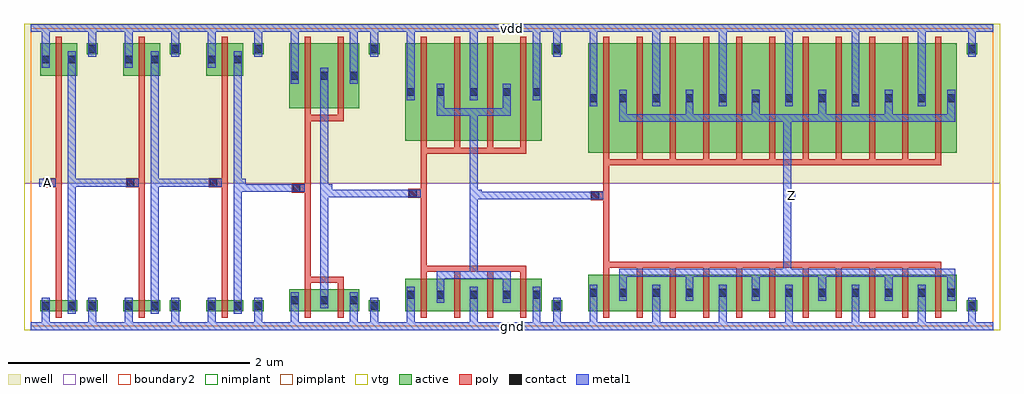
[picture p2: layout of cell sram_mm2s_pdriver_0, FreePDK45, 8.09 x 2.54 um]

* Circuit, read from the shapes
.subckt sram_mm2s_pdriver_0 A Z gnd vdd
M1 sram_mm2s_pinv_5_1/A A gnd gnd nfet w=0.09u l=0.05u
M2 sram_mm2s_pinv_5_2/A sram_mm2s_pinv_5_1/A gnd gnd nfet w=0.09u l=0.05u
M3 sram_mm2s_pinv_6_3/A sram_mm2s_pinv_5_2/A gnd gnd nfet w=0.09u l=0.05u
M4 sram_mm2s_pinv_3_4/A sram_mm2s_pinv_6_3/A gnd gnd nfet w=0.18u l=0.05u m=2
M5 sram_mm2s_pinv_7_5/A sram_mm2s_pinv_3_4/A gnd gnd nfet w=0.27u l=0.05u m=4
M6 Z sram_mm2s_pinv_7_5/A gnd gnd nfet w=0.3025u l=0.05u m=11
M7 sram_mm2s_pinv_5_1/A A vdd vdd pfet w=0.27u l=0.05u
M8 sram_mm2s_pinv_5_2/A sram_mm2s_pinv_5_1/A vdd vdd pfet w=0.27u l=0.05u
M9 sram_mm2s_pinv_6_3/A sram_mm2s_pinv_5_2/A vdd vdd pfet w=0.27u l=0.05u
M10 sram_mm2s_pinv_3_4/A sram_mm2s_pinv_6_3/A vdd vdd pfet w=0.54u l=0.05u m=2
M11 sram_mm2s_pinv_7_5/A sram_mm2s_pinv_3_4/A vdd vdd pfet w=0.81u l=0.05u m=4
M12 Z sram_mm2s_pinv_7_5/A vdd vdd pfet w=0.9075u l=0.05u m=11
.ends

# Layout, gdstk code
import gdstk
lib = gdstk.Library(unit=1e-6, precision=5e-10)
def R(c, l, rs):  # rectangles x0, y0, x1, y1
    for r in rs: c.add(gdstk.rectangle(r[:2], r[2:], *l))
def A(c, l, x, y, w, h, nx, ny, dx, dy):  # array of equal rectangles
    R(c, l, [(x+i*dx, y+j*dy, x+i*dx+w, y+j*dy+h) for i in range(nx) for j in range(ny)])
active = (1, 0)
pwell = (2, 0)
nwell = (3, 0)
nimplant = (4, 0)
pimplant = (5, 0)
vtg = (6, 0)
poly = (9, 0)
contact = (10, 0)
metal1 = (11, 0)
boundary2 = (239, 0)

sram_mm2s_contact_11 = lib.new_cell('sram_mm2s_contact_11')
R(sram_mm2s_contact_11, active, [(0,0.0225,0.09,0.1125)])
R(sram_mm2s_contact_11, nwell, [(-0.055,-0.0325,0.145,0.1675)])
R(sram_mm2s_contact_11, pimplant, [(0,0.0225,0.09,0.1125)])
R(sram_mm2s_contact_11, contact, [(0.0125,0.035,0.0775,0.1)])
R(sram_mm2s_contact_11, metal1, [(0.0125,0,0.0775,0.135)])
R(sram_mm2s_contact_11, boundary2, [(-0.055,-0.0325,0.145,0.1675)])

sram_mm2s_pmos_m1_w0_270 = lib.new_cell('sram_mm2s_pmos_m1_w0_270_sm1_dm1_da_p')
R(sram_mm2s_pmos_m1_w0_270, active, [(0,0,0.305,0.27)])
R(sram_mm2s_pmos_m1_w0_270, nwell, [(-0.08,-0.08,0.385,0.35)])
R(sram_mm2s_pmos_m1_w0_270, pimplant, [(0,0,0.305,0.27)])
R(sram_mm2s_pmos_m1_w0_270, vtg, [(-0.08,-0.08,0.385,0.35)])
R(sram_mm2s_pmos_m1_w0_270, poly, [(0.1275,-0.055,0.1775,0.325), (0.1275,-0.055,0.1775,0.325)])
R(sram_mm2s_pmos_m1_w0_270, metal1, [(0.0125,0.0675,0.0775,0.2025), (0.2275,0.0675,0.2925,0.2025)])
R(sram_mm2s_pmos_m1_w0_270, boundary2, [(-0.08,-0.08,0.385,0.35)])
sram_mm2s_pmos_m1_w0_270.add(gdstk.Reference(sram_mm2s_contact_11, (0,0.0675)))
sram_mm2s_pmos_m1_w0_270.add(gdstk.Reference(sram_mm2s_contact_11, (0.215,0.0675)))
sram_mm2s_pmos_m1_w0_270.add(gdstk.Label('G', (0.1525,0.135), layer=9, texttype=0))
sram_mm2s_pmos_m1_w0_270.add(gdstk.Label('S', (0.045,0.135), layer=11, texttype=0))
sram_mm2s_pmos_m1_w0_270.add(gdstk.Label('D', (0.26,0.135), layer=11, texttype=0))

sram_mm2s_contact_10 = lib.new_cell('sram_mm2s_contact_10')
R(sram_mm2s_contact_10, active, [(0,0.0225,0.09,0.1125)])
R(sram_mm2s_contact_10, pwell, [(-0.055,-0.0325,0.145,0.1675)])
R(sram_mm2s_contact_10, nimplant, [(0,0.0225,0.09,0.1125)])
R(sram_mm2s_contact_10, contact, [(0.0125,0.035,0.0775,0.1)])
R(sram_mm2s_contact_10, metal1, [(0.0125,0,0.0775,0.135)])
R(sram_mm2s_contact_10, boundary2, [(-0.055,-0.0325,0.145,0.1675)])

sram_mm2s_nmos_m1_w0_090 = lib.new_cell('sram_mm2s_nmos_m1_w0_090_sm1_dm1_da_p')
R(sram_mm2s_nmos_m1_w0_090, active, [(0,0,0.305,0.09)])
R(sram_mm2s_nmos_m1_w0_090, pwell, [(-0.08,-0.08,0.385,0.17)])
R(sram_mm2s_nmos_m1_w0_090, nimplant, [(0,0,0.305,0.09)])
R(sram_mm2s_nmos_m1_w0_090, vtg, [(-0.08,-0.08,0.385,0.17)])
R(sram_mm2s_nmos_m1_w0_090, poly, [(0.1275,-0.055,0.1775,0.145), (0.1275,-0.055,0.1775,0.145)])
R(sram_mm2s_nmos_m1_w0_090, metal1, [(0.0125,-0.0225,0.0775,0.1125), (0.2275,-0.0225,0.2925,0.1125)])
R(sram_mm2s_nmos_m1_w0_090, boundary2, [(-0.08,-0.08,0.385,0.17)])
sram_mm2s_nmos_m1_w0_090.add(gdstk.Reference(sram_mm2s_contact_10, (0,-0.0225)))
sram_mm2s_nmos_m1_w0_090.add(gdstk.Reference(sram_mm2s_contact_10, (0.215,-0.0225)))
sram_mm2s_nmos_m1_w0_090.add(gdstk.Label('G', (0.1525,0.045), layer=9, texttype=0))
sram_mm2s_nmos_m1_w0_090.add(gdstk.Label('S', (0.045,0.045), layer=11, texttype=0))
sram_mm2s_nmos_m1_w0_090.add(gdstk.Label('D', (0.26,0.045), layer=11, texttype=0))

sram_mm2s_contact_12 = lib.new_cell('sram_mm2s_contact_12')
R(sram_mm2s_contact_12, active, [(0,0.0225,0.09,0.1125)])
R(sram_mm2s_contact_12, nwell, [(-0.055,-0.0325,0.145,0.1675)])
R(sram_mm2s_contact_12, nimplant, [(0,0.0225,0.09,0.1125)])
R(sram_mm2s_contact_12, contact, [(0.0125,0.035,0.0775,0.1)])
R(sram_mm2s_contact_12, metal1, [(0.0125,0,0.0775,0.135)])
R(sram_mm2s_contact_12, boundary2, [(-0.055,-0.0325,0.145,0.1675)])

sram_mm2s_contact_13 = lib.new_cell('sram_mm2s_contact_13')
R(sram_mm2s_contact_13, active, [(0,0.0225,0.09,0.1125)])
R(sram_mm2s_contact_13, pwell, [(-0.055,-0.0325,0.145,0.1675)])
R(sram_mm2s_contact_13, pimplant, [(0,0.0225,0.09,0.1125)])
R(sram_mm2s_contact_13, contact, [(0.0125,0.035,0.0775,0.1)])
R(sram_mm2s_contact_13, metal1, [(0.0125,0,0.0775,0.135)])
R(sram_mm2s_contact_13, boundary2, [(-0.055,-0.0325,0.145,0.1675)])

sram_mm2s_contact_14 = lib.new_cell('sram_mm2s_contact_14')
R(sram_mm2s_contact_14, poly, [(0.03,0,0.105,0.075)])
R(sram_mm2s_contact_14, contact, [(0.035,0.005,0.1,0.07)])
R(sram_mm2s_contact_14, metal1, [(0,0.005,0.135,0.07)])
R(sram_mm2s_contact_14, boundary2, [(0,0,0.135,0.075)])

sram_mm2s_pinv_5 = lib.new_cell('sram_mm2s_pinv_5')
R(sram_mm2s_pinv_5, pwell, [(-0.055,-0.0325,0.7425,1.185)])
R(sram_mm2s_pinv_5, nwell, [(-0.055,1.185,0.7425,2.505)])
R(sram_mm2s_pinv_5, vtg, [(-0.055,-0.0325,0.7425,1.185), (-0.055,1.185,0.7425,2.505)])
R(sram_mm2s_pinv_5, poly, [(0.2075,0.27,0.2575,2.02), (0.14,1.1525,0.2075,1.2275)])
R(sram_mm2s_pinv_5, metal1, [(0,-0.0325,0.6875,0.0325), (0.0925,-0.0325,0.1575,0.1025), (0.4775,0,0.5425,0.17), (0.3075,0.1025,0.3725,2.2775), (0.0725,1.1575,0.2075,1.2225), (0.34,1.1575,0.405,1.2225), (0.0925,2.1425,0.1575,2.5025), (0.4775,2.3,0.5425,2.47), (0,2.4375,0.6875,2.5025)])
R(sram_mm2s_pinv_5, boundary2, [(0,0,0.6875,2.47), (0,0,0.6875,2.47)])
sram_mm2s_pinv_5.add(gdstk.Reference(sram_mm2s_pmos_m1_w0_270, (0.08,2.075)))
sram_mm2s_pinv_5.add(gdstk.Reference(sram_mm2s_nmos_m1_w0_090, (0.08,0.125)))
sram_mm2s_pinv_5.add(gdstk.Reference(sram_mm2s_contact_12, (0.465,2.2325)))
sram_mm2s_pinv_5.add(gdstk.Reference(sram_mm2s_contact_13, (0.465,0.1025)))
sram_mm2s_pinv_5.add(gdstk.Reference(sram_mm2s_contact_14, (0.0725,1.1525)))
sram_mm2s_pinv_5.add(gdstk.Label('A', (0.14,1.19), layer=11, texttype=0))
sram_mm2s_pinv_5.add(gdstk.Label('Z', (0.3725,1.19), layer=11, texttype=0))
sram_mm2s_pinv_5.add(gdstk.Label('gnd', (0.344,0), layer=11, texttype=0))
sram_mm2s_pinv_5.add(gdstk.Label('vdd', (0.344,2.47), layer=11, texttype=0))

sram_mm2s_pmos_m2_w0_540 = lib.new_cell('sram_mm2s_pmos_m2_w0_540_sm1_dm1_da_p')
R(sram_mm2s_pmos_m2_w0_540, active, [(0,0,0.58,0.54)])
R(sram_mm2s_pmos_m2_w0_540, nwell, [(-0.08,-0.08,0.66,0.62)])
R(sram_mm2s_pmos_m2_w0_540, pimplant, [(0,0,0.58,0.54)])
R(sram_mm2s_pmos_m2_w0_540, vtg, [(-0.08,-0.08,0.66,0.62)])
R(sram_mm2s_pmos_m2_w0_540, poly, [(0.1275,-0.105,0.4525,-0.055), (0.1275,-0.055,0.1775,0.595), (0.4025,-0.055,0.4525,0.595)])
A(sram_mm2s_pmos_m2_w0_540, metal1, 0.0125, 0.2025, 0.065, 0.135, 3, 1, 0.245, 0)
R(sram_mm2s_pmos_m2_w0_540, boundary2, [(-0.08,-0.105,0.66,0.62)])
sram_mm2s_pmos_m2_w0_540.add(gdstk.Reference(sram_mm2s_contact_11, (0,0.2025)))
sram_mm2s_pmos_m2_w0_540.add(gdstk.Reference(sram_mm2s_contact_11, (0.245,0.2025)))
sram_mm2s_pmos_m2_w0_540.add(gdstk.Reference(sram_mm2s_contact_11, (0.49,0.2025)))
sram_mm2s_pmos_m2_w0_540.add(gdstk.Label('G', (0.29,-0.08), layer=9, texttype=0))
sram_mm2s_pmos_m2_w0_540.add(gdstk.Label('S', (0.045,0.27), layer=11, texttype=0))
sram_mm2s_pmos_m2_w0_540.add(gdstk.Label('S', (0.535,0.27), layer=11, texttype=0))
sram_mm2s_pmos_m2_w0_540.add(gdstk.Label('D', (0.29,0.27), layer=11, texttype=0))

sram_mm2s_nmos_m2_w0_180 = lib.new_cell('sram_mm2s_nmos_m2_w0_180_sm1_dm1_da_p')
R(sram_mm2s_nmos_m2_w0_180, active, [(0,0,0.58,0.18)])
R(sram_mm2s_nmos_m2_w0_180, pwell, [(-0.08,-0.08,0.66,0.26)])
R(sram_mm2s_nmos_m2_w0_180, nimplant, [(0,0,0.58,0.18)])
R(sram_mm2s_nmos_m2_w0_180, vtg, [(-0.08,-0.08,0.66,0.26)])
R(sram_mm2s_nmos_m2_w0_180, poly, [(0.1275,-0.055,0.1775,0.235), (0.4025,-0.055,0.4525,0.235), (0.1275,0.235,0.4525,0.285)])
A(sram_mm2s_nmos_m2_w0_180, metal1, 0.0125, 0.0225, 0.065, 0.135, 3, 1, 0.245, 0)
R(sram_mm2s_nmos_m2_w0_180, boundary2, [(-0.08,-0.08,0.66,0.285)])
sram_mm2s_nmos_m2_w0_180.add(gdstk.Reference(sram_mm2s_contact_10, (0,0.0225)))
sram_mm2s_nmos_m2_w0_180.add(gdstk.Reference(sram_mm2s_contact_10, (0.245,0.0225)))
sram_mm2s_nmos_m2_w0_180.add(gdstk.Reference(sram_mm2s_contact_10, (0.49,0.0225)))
sram_mm2s_nmos_m2_w0_180.add(gdstk.Label('G', (0.29,0.26), layer=9, texttype=0))
sram_mm2s_nmos_m2_w0_180.add(gdstk.Label('S', (0.535,0.09), layer=11, texttype=0))
sram_mm2s_nmos_m2_w0_180.add(gdstk.Label('S', (0.045,0.09), layer=11, texttype=0))
sram_mm2s_nmos_m2_w0_180.add(gdstk.Label('D', (0.29,0.09), layer=11, texttype=0))

sram_mm2s_pinv_6 = lib.new_cell('sram_mm2s_pinv_6')
R(sram_mm2s_pinv_6, pwell, [(-0.055,-0.0325,1.0175,1.185)])
R(sram_mm2s_pinv_6, nwell, [(-0.055,1.185,1.0175,2.505)])
R(sram_mm2s_pinv_6, vtg, [(-0.055,-0.0325,1.0175,1.185), (-0.055,1.185,1.0175,2.505)])
R(sram_mm2s_pinv_6, poly, [(0.2075,0.41,0.2575,1.7), (0.14,1.1075,0.2075,1.1825)])
R(sram_mm2s_pinv_6, metal1, [(0,-0.0325,0.9625,0.0325), (0.0925,-0.0325,0.1575,0.1475), (0.5825,-0.0325,0.6475,0.1475), (0.7525,0,0.8175,0.17), (0.3375,0.1475,0.4025,2.1425), (0.0725,1.1125,0.2075,1.1775), (0.37,1.1125,0.435,1.1775), (0.0925,2.0075,0.1575,2.5025), (0.5825,2.0075,0.6475,2.5025), (0.7525,2.3,0.8175,2.47), (0,2.4375,0.9625,2.5025)])
R(sram_mm2s_pinv_6, boundary2, [(0,0,0.9625,2.47), (0,0,0.9625,2.47)])
sram_mm2s_pinv_6.add(gdstk.Reference(sram_mm2s_pmos_m2_w0_540, (0.08,1.805)))
sram_mm2s_pinv_6.add(gdstk.Reference(sram_mm2s_nmos_m2_w0_180, (0.08,0.125)))
sram_mm2s_pinv_6.add(gdstk.Reference(sram_mm2s_contact_12, (0.74,2.2325)))
sram_mm2s_pinv_6.add(gdstk.Reference(sram_mm2s_contact_13, (0.74,0.1025)))
sram_mm2s_pinv_6.add(gdstk.Reference(sram_mm2s_contact_14, (0.0725,1.1075)))
sram_mm2s_pinv_6.add(gdstk.Label('A', (0.14,1.145), layer=11, texttype=0))
sram_mm2s_pinv_6.add(gdstk.Label('Z', (0.4025,1.145), layer=11, texttype=0))
sram_mm2s_pinv_6.add(gdstk.Label('gnd', (0.481,0), layer=11, texttype=0))
sram_mm2s_pinv_6.add(gdstk.Label('vdd', (0.481,2.47), layer=11, texttype=0))

sram_mm2s_pmos_m4_w0_810 = lib.new_cell('sram_mm2s_pmos_m4_w0_810_sm1_dm1_da_p')
R(sram_mm2s_pmos_m4_w0_810, active, [(0,0,1.13,0.81)])
R(sram_mm2s_pmos_m4_w0_810, nwell, [(-0.08,-0.08,1.21,0.89)])
R(sram_mm2s_pmos_m4_w0_810, pimplant, [(0,0,1.13,0.81)])
R(sram_mm2s_pmos_m4_w0_810, vtg, [(-0.08,-0.08,1.21,0.89)])
A(sram_mm2s_pmos_m4_w0_810, poly, 0.1275, -0.055, 0.05, 0.92, 4, 1, 0.275, 0)
R(sram_mm2s_pmos_m4_w0_810, poly, [(0.1275,-0.105,1.0025,-0.055)])
A(sram_mm2s_pmos_m4_w0_810, metal1, 0.0125, 0.3375, 0.065, 0.135, 3, 1, 0.52, 0)
R(sram_mm2s_pmos_m4_w0_810, metal1, [(0.2575,0.2075,0.8725,0.2725), (0.2575,0.24,0.3225,0.405), (0.8075,0.24,0.8725,0.405)])
R(sram_mm2s_pmos_m4_w0_810, boundary2, [(-0.08,-0.105,1.21,0.89)])
sram_mm2s_pmos_m4_w0_810.add(gdstk.Reference(sram_mm2s_contact_11, (0,0.3375)))
sram_mm2s_pmos_m4_w0_810.add(gdstk.Reference(sram_mm2s_contact_11, (0.245,0.3375)))
sram_mm2s_pmos_m4_w0_810.add(gdstk.Reference(sram_mm2s_contact_11, (0.52,0.3375)))
sram_mm2s_pmos_m4_w0_810.add(gdstk.Reference(sram_mm2s_contact_11, (0.795,0.3375)))
sram_mm2s_pmos_m4_w0_810.add(gdstk.Reference(sram_mm2s_contact_11, (1.04,0.3375)))
sram_mm2s_pmos_m4_w0_810.add(gdstk.Label('G', (0.565,-0.08), layer=9, texttype=0))
sram_mm2s_pmos_m4_w0_810.add(gdstk.Label('S', (0.565,0.405), layer=11, texttype=0))
sram_mm2s_pmos_m4_w0_810.add(gdstk.Label('S', (0.045,0.405), layer=11, texttype=0))
sram_mm2s_pmos_m4_w0_810.add(gdstk.Label('S', (1.085,0.405), layer=11, texttype=0))
sram_mm2s_pmos_m4_w0_810.add(gdstk.Label('D', (0.565,0.24), layer=11, texttype=0))

sram_mm2s_nmos_m4_w0_270 = lib.new_cell('sram_mm2s_nmos_m4_w0_270_sm1_dm1_da_p')
R(sram_mm2s_nmos_m4_w0_270, active, [(0,0,1.13,0.27)])
R(sram_mm2s_nmos_m4_w0_270, pwell, [(-0.08,-0.08,1.21,0.35)])
R(sram_mm2s_nmos_m4_w0_270, nimplant, [(0,0,1.13,0.27)])
R(sram_mm2s_nmos_m4_w0_270, vtg, [(-0.08,-0.08,1.21,0.35)])
A(sram_mm2s_nmos_m4_w0_270, poly, 0.1275, -0.055, 0.05, 0.38, 4, 1, 0.275, 0)
R(sram_mm2s_nmos_m4_w0_270, poly, [(0.1275,0.325,1.0025,0.375)])
A(sram_mm2s_nmos_m4_w0_270, metal1, 0.0125, 0.0675, 0.065, 0.135, 3, 1, 0.52, 0)
R(sram_mm2s_nmos_m4_w0_270, metal1, [(0.2575,0.135,0.3225,0.3), (0.8075,0.135,0.8725,0.3), (0.2575,0.2675,0.8725,0.3325)])
R(sram_mm2s_nmos_m4_w0_270, boundary2, [(-0.08,-0.08,1.21,0.375)])
sram_mm2s_nmos_m4_w0_270.add(gdstk.Reference(sram_mm2s_contact_10, (0,0.0675)))
sram_mm2s_nmos_m4_w0_270.add(gdstk.Reference(sram_mm2s_contact_10, (0.245,0.0675)))
sram_mm2s_nmos_m4_w0_270.add(gdstk.Reference(sram_mm2s_contact_10, (0.52,0.0675)))
sram_mm2s_nmos_m4_w0_270.add(gdstk.Reference(sram_mm2s_contact_10, (0.795,0.0675)))
sram_mm2s_nmos_m4_w0_270.add(gdstk.Reference(sram_mm2s_contact_10, (1.04,0.0675)))
sram_mm2s_nmos_m4_w0_270.add(gdstk.Label('G', (0.565,0.35), layer=9, texttype=0))
sram_mm2s_nmos_m4_w0_270.add(gdstk.Label('S', (0.045,0.135), layer=11, texttype=0))
sram_mm2s_nmos_m4_w0_270.add(gdstk.Label('S', (0.565,0.135), layer=11, texttype=0))
sram_mm2s_nmos_m4_w0_270.add(gdstk.Label('S', (1.085,0.135), layer=11, texttype=0))
sram_mm2s_nmos_m4_w0_270.add(gdstk.Label('D', (0.565,0.3), layer=11, texttype=0))

sram_mm2s_pinv_3 = lib.new_cell('sram_mm2s_pinv_3')
R(sram_mm2s_pinv_3, pwell, [(-0.055,-0.0325,1.5675,1.185)])
R(sram_mm2s_pinv_3, nwell, [(-0.055,1.185,1.5675,2.505)])
R(sram_mm2s_pinv_3, vtg, [(-0.055,-0.0325,1.5675,1.185), (-0.055,1.185,1.5675,2.505)])
R(sram_mm2s_pinv_3, poly, [(0.2075,0.5,0.2575,1.43), (0.14,1.0625,0.2075,1.1375)])
A(sram_mm2s_pinv_3, metal1, 0.0925, -0.0325, 0.065, 0.225, 3, 1, 0.52, 0)
A(sram_mm2s_pinv_3, metal1, 0.0925, 1.8725, 0.065, 0.63, 3, 1, 0.52, 0)
R(sram_mm2s_pinv_3, metal1, [(0,-0.0325,1.5125,0.0325), (1.3025,0,1.3675,0.17), (0.6125,0.3925,0.6775,1.8075), (0.0725,1.0675,0.2075,1.1325), (0.645,1.0675,0.71,1.1325), (1.3025,2.3,1.3675,2.47), (0,2.4375,1.5125,2.5025)])
R(sram_mm2s_pinv_3, boundary2, [(0,0,1.5125,2.47), (0,0,1.5125,2.47)])
sram_mm2s_pinv_3.add(gdstk.Reference(sram_mm2s_pmos_m4_w0_810, (0.08,1.535)))
sram_mm2s_pinv_3.add(gdstk.Reference(sram_mm2s_nmos_m4_w0_270, (0.08,0.125)))
sram_mm2s_pinv_3.add(gdstk.Reference(sram_mm2s_contact_12, (1.29,2.2325)))
sram_mm2s_pinv_3.add(gdstk.Reference(sram_mm2s_contact_13, (1.29,0.1025)))
sram_mm2s_pinv_3.add(gdstk.Reference(sram_mm2s_contact_14, (0.0725,1.0625)))
sram_mm2s_pinv_3.add(gdstk.Label('A', (0.14,1.1), layer=11, texttype=0))
sram_mm2s_pinv_3.add(gdstk.Label('Z', (0.6775,1.1), layer=11, texttype=0))
sram_mm2s_pinv_3.add(gdstk.Label('gnd', (0.756,0), layer=11, texttype=0))
sram_mm2s_pinv_3.add(gdstk.Label('vdd', (0.756,2.47), layer=11, texttype=0))

sram_mm2s_pmos_m11_w0_90 = lib.new_cell('sram_mm2s_pmos_m11_w0_907_sm1_dm1_da_p')
R(sram_mm2s_pmos_m11_w0_90, active, [(0,0,3.055,0.9075)])
R(sram_mm2s_pmos_m11_w0_90, nwell, [(-0.08,-0.08,3.135,0.9875)])
R(sram_mm2s_pmos_m11_w0_90, pimplant, [(0,0,3.055,0.9075)])
R(sram_mm2s_pmos_m11_w0_90, vtg, [(-0.08,-0.08,3.135,0.9875)])
A(sram_mm2s_pmos_m11_w0_90, poly, 0.1275, -0.055, 0.05, 1.0175, 11, 1, 0.275, 0)
R(sram_mm2s_pmos_m11_w0_90, poly, [(0.1275,-0.105,2.9275,-0.055)])
A(sram_mm2s_pmos_m11_w0_90, metal1, 0.2575, 0.29, 0.065, 0.165, 5, 1, 0.55, 0)
A(sram_mm2s_pmos_m11_w0_90, metal1, 0.5325, 0.385, 0.065, 0.135, 5, 1, 0.55, 0)
R(sram_mm2s_pmos_m11_w0_90, metal1, [(0.2575,0.255,3.0425,0.32), (2.9775,0.29,3.0425,0.455), (0.0125,0.385,0.0775,0.52)])
R(sram_mm2s_pmos_m11_w0_90, boundary2, [(-0.08,-0.105,3.135,0.9875)])
sram_mm2s_pmos_m11_w0_90.add(gdstk.Reference(sram_mm2s_contact_11, (0,0.385)))
sram_mm2s_pmos_m11_w0_90.add(gdstk.Reference(sram_mm2s_contact_11, (0.245,0.385)))
sram_mm2s_pmos_m11_w0_90.add(gdstk.Reference(sram_mm2s_contact_11, (0.52,0.385)))
sram_mm2s_pmos_m11_w0_90.add(gdstk.Reference(sram_mm2s_contact_11, (0.795,0.385)))
sram_mm2s_pmos_m11_w0_90.add(gdstk.Reference(sram_mm2s_contact_11, (1.07,0.385)))
sram_mm2s_pmos_m11_w0_90.add(gdstk.Reference(sram_mm2s_contact_11, (1.345,0.385)))
sram_mm2s_pmos_m11_w0_90.add(gdstk.Reference(sram_mm2s_contact_11, (1.62,0.385)))
sram_mm2s_pmos_m11_w0_90.add(gdstk.Reference(sram_mm2s_contact_11, (1.895,0.385)))
sram_mm2s_pmos_m11_w0_90.add(gdstk.Reference(sram_mm2s_contact_11, (2.17,0.385)))
sram_mm2s_pmos_m11_w0_90.add(gdstk.Reference(sram_mm2s_contact_11, (2.445,0.385)))
sram_mm2s_pmos_m11_w0_90.add(gdstk.Reference(sram_mm2s_contact_11, (2.72,0.385)))
sram_mm2s_pmos_m11_w0_90.add(gdstk.Reference(sram_mm2s_contact_11, (2.965,0.385)))
sram_mm2s_pmos_m11_w0_90.add(gdstk.Label('G', (1.5275,-0.08), layer=9, texttype=0))
sram_mm2s_pmos_m11_w0_90.add(gdstk.Label('S', (0.565,0.4525), layer=11, texttype=0))
sram_mm2s_pmos_m11_w0_90.add(gdstk.Label('S', (0.045,0.4525), layer=11, texttype=0))
sram_mm2s_pmos_m11_w0_90.add(gdstk.Label('S', (1.665,0.4525), layer=11, texttype=0))
sram_mm2s_pmos_m11_w0_90.add(gdstk.Label('S', (2.215,0.4525), layer=11, texttype=0))
sram_mm2s_pmos_m11_w0_90.add(gdstk.Label('S', (1.115,0.4525), layer=11, texttype=0))
sram_mm2s_pmos_m11_w0_90.add(gdstk.Label('S', (2.765,0.4525), layer=11, texttype=0))
sram_mm2s_pmos_m11_w0_90.add(gdstk.Label('D', (1.65,0.2875), layer=11, texttype=0))

sram_mm2s_nmos_m11_w0_30 = lib.new_cell('sram_mm2s_nmos_m11_w0_302_sm1_dm1_da_p')
R(sram_mm2s_nmos_m11_w0_30, active, [(0,0,3.055,0.3025)])
R(sram_mm2s_nmos_m11_w0_30, pwell, [(-0.08,-0.08,3.135,0.3825)])
R(sram_mm2s_nmos_m11_w0_30, nimplant, [(0,0,3.055,0.3025)])
R(sram_mm2s_nmos_m11_w0_30, vtg, [(-0.08,-0.08,3.135,0.3825)])
A(sram_mm2s_nmos_m11_w0_30, poly, 0.1275, -0.055, 0.05, 0.4125, 11, 1, 0.275, 0)
R(sram_mm2s_nmos_m11_w0_30, poly, [(0.1275,0.3575,2.9275,0.4075)])
A(sram_mm2s_nmos_m11_w0_30, metal1, 0.5325, 0.085, 0.065, 0.135, 5, 1, 0.55, 0)
A(sram_mm2s_nmos_m11_w0_30, metal1, 0.2575, 0.15, 0.065, 0.165, 5, 1, 0.55, 0)
R(sram_mm2s_nmos_m11_w0_30, metal1, [(0.0125,0.085,0.0775,0.22), (2.9775,0.15,3.0425,0.315), (0.2575,0.285,3.0425,0.35)])
R(sram_mm2s_nmos_m11_w0_30, boundary2, [(-0.08,-0.08,3.135,0.4075)])
sram_mm2s_nmos_m11_w0_30.add(gdstk.Reference(sram_mm2s_contact_10, (0,0.085)))
sram_mm2s_nmos_m11_w0_30.add(gdstk.Reference(sram_mm2s_contact_10, (0.245,0.085)))
sram_mm2s_nmos_m11_w0_30.add(gdstk.Reference(sram_mm2s_contact_10, (0.52,0.085)))
sram_mm2s_nmos_m11_w0_30.add(gdstk.Reference(sram_mm2s_contact_10, (0.795,0.085)))
sram_mm2s_nmos_m11_w0_30.add(gdstk.Reference(sram_mm2s_contact_10, (1.07,0.085)))
sram_mm2s_nmos_m11_w0_30.add(gdstk.Reference(sram_mm2s_contact_10, (1.345,0.085)))
sram_mm2s_nmos_m11_w0_30.add(gdstk.Reference(sram_mm2s_contact_10, (1.62,0.085)))
sram_mm2s_nmos_m11_w0_30.add(gdstk.Reference(sram_mm2s_contact_10, (1.895,0.085)))
sram_mm2s_nmos_m11_w0_30.add(gdstk.Reference(sram_mm2s_contact_10, (2.17,0.085)))
sram_mm2s_nmos_m11_w0_30.add(gdstk.Reference(sram_mm2s_contact_10, (2.445,0.085)))
sram_mm2s_nmos_m11_w0_30.add(gdstk.Reference(sram_mm2s_contact_10, (2.72,0.085)))
sram_mm2s_nmos_m11_w0_30.add(gdstk.Reference(sram_mm2s_contact_10, (2.965,0.085)))
sram_mm2s_nmos_m11_w0_30.add(gdstk.Label('G', (1.5275,0.3825), layer=9, texttype=0))
sram_mm2s_nmos_m11_w0_30.add(gdstk.Label('S', (0.045,0.1525), layer=11, texttype=0))
sram_mm2s_nmos_m11_w0_30.add(gdstk.Label('S', (2.215,0.1525), layer=11, texttype=0))
sram_mm2s_nmos_m11_w0_30.add(gdstk.Label('S', (1.665,0.1525), layer=11, texttype=0))
sram_mm2s_nmos_m11_w0_30.add(gdstk.Label('S', (0.565,0.1525), layer=11, texttype=0))
sram_mm2s_nmos_m11_w0_30.add(gdstk.Label('S', (2.765,0.1525), layer=11, texttype=0))
sram_mm2s_nmos_m11_w0_30.add(gdstk.Label('S', (1.115,0.1525), layer=11, texttype=0))
sram_mm2s_nmos_m11_w0_30.add(gdstk.Label('D', (1.65,0.3175), layer=11, texttype=0))

sram_mm2s_pinv_7 = lib.new_cell('sram_mm2s_pinv_7')
R(sram_mm2s_pinv_7, pwell, [(-0.055,-0.0325,3.4925,1.185)])
R(sram_mm2s_pinv_7, nwell, [(-0.055,1.185,3.4925,2.505)])
R(sram_mm2s_pinv_7, vtg, [(-0.055,-0.0325,3.4925,1.185), (-0.055,1.185,3.4925,2.505)])
R(sram_mm2s_pinv_7, poly, [(0.2075,0.5325,0.2575,1.3325), (0.14,1.045,0.2075,1.12)])
A(sram_mm2s_pinv_7, metal1, 0.6125, -0.0325, 0.065, 0.2425, 5, 1, 0.55, 0)
A(sram_mm2s_pinv_7, metal1, 0.6125, 1.8225, 0.065, 0.68, 5, 1, 0.55, 0)
R(sram_mm2s_pinv_7, metal1, [(0,-0.0325,3.4375,0.0325), (0.0925,-0.0325,0.1575,0.21), (3.2275,0,3.2925,0.17), (1.6975,0.41,1.7625,1.7575), (0.0725,1.05,0.2075,1.115), (1.73,1.05,1.795,1.115), (0.0925,1.8225,0.1575,2.5025), (3.2275,2.3,3.2925,2.47), (0,2.4375,3.4375,2.5025)])
R(sram_mm2s_pinv_7, boundary2, [(0,0,3.4375,2.47), (0,0,3.4375,2.47)])
sram_mm2s_pinv_7.add(gdstk.Reference(sram_mm2s_pmos_m11_w0_90, (0.08,1.4375)))
sram_mm2s_pinv_7.add(gdstk.Reference(sram_mm2s_nmos_m11_w0_30, (0.08,0.125)))
sram_mm2s_pinv_7.add(gdstk.Reference(sram_mm2s_contact_12, (3.215,2.2325)))
sram_mm2s_pinv_7.add(gdstk.Reference(sram_mm2s_contact_13, (3.215,0.1025)))
sram_mm2s_pinv_7.add(gdstk.Reference(sram_mm2s_contact_14, (0.0725,1.045)))
sram_mm2s_pinv_7.add(gdstk.Label('A', (0.14,1.0825), layer=11, texttype=0))
sram_mm2s_pinv_7.add(gdstk.Label('Z', (1.7625,1.0825), layer=11, texttype=0))
sram_mm2s_pinv_7.add(gdstk.Label('gnd', (1.719,0), layer=11, texttype=0))
sram_mm2s_pinv_7.add(gdstk.Label('vdd', (1.719,2.47), layer=11, texttype=0))

sram_mm2s_pdriver_0 = lib.new_cell('sram_mm2s_pdriver_0')
R(sram_mm2s_pdriver_0, pwell, [(-0.055,-0.0325,8.03,1.185)])
R(sram_mm2s_pdriver_0, nwell, [(-0.055,1.185,8.03,2.505)])
R(sram_mm2s_pdriver_0, vtg, [(-0.055,-0.0325,8.03,1.185), (-0.055,1.185,8.03,2.505)])
R(sram_mm2s_pdriver_0, metal1, [(0,-0.0325,7.975,0.0325), (3.67,1.05,3.735,1.115), (3.7025,1.05,4.6775,1.115), (6.2675,1.05,6.3325,1.115), (2.4325,1.0675,2.4975,1.1325), (2.465,1.0675,3.165,1.1325), (3.67,1.0825,3.735,1.1), (2.4325,1.1,2.4975,1.145), (1.715,1.1125,1.78,1.1775), (1.7475,1.1125,2.2025,1.1775), (1.715,1.145,1.78,1.19), (0.0725,1.1575,0.2075,1.2225), (0.3725,1.1575,0.8275,1.2225), (1.06,1.1575,1.515,1.2225), (0,2.4375,7.975,2.5025)])
R(sram_mm2s_pdriver_0, boundary2, [(0,0,7.975,2.47), (0,0,7.975,2.47)])
sram_mm2s_pdriver_0.add(gdstk.Reference(sram_mm2s_pinv_5, (0,0)))
sram_mm2s_pdriver_0.add(gdstk.Reference(sram_mm2s_pinv_5, (0.6875,0)))
sram_mm2s_pdriver_0.add(gdstk.Reference(sram_mm2s_pinv_5, (1.375,0)))
sram_mm2s_pdriver_0.add(gdstk.Reference(sram_mm2s_pinv_6, (2.0625,0)))
sram_mm2s_pdriver_0.add(gdstk.Reference(sram_mm2s_pinv_3, (3.025,0)))
sram_mm2s_pdriver_0.add(gdstk.Reference(sram_mm2s_pinv_7, (4.5375,0)))
sram_mm2s_pdriver_0.add(gdstk.Label('Z', (6.3,1.0825), layer=11, texttype=0))
sram_mm2s_pdriver_0.add(gdstk.Label('A', (0.14,1.19), layer=11, texttype=0))
sram_mm2s_pdriver_0.add(gdstk.Label('gnd', (3.9875,0), layer=11, texttype=0))
sram_mm2s_pdriver_0.add(gdstk.Label('vdd', (3.9875,2.47), layer=11, texttype=0))

lib.write_gds('sram_mm2s_pdriver_0.gds')
